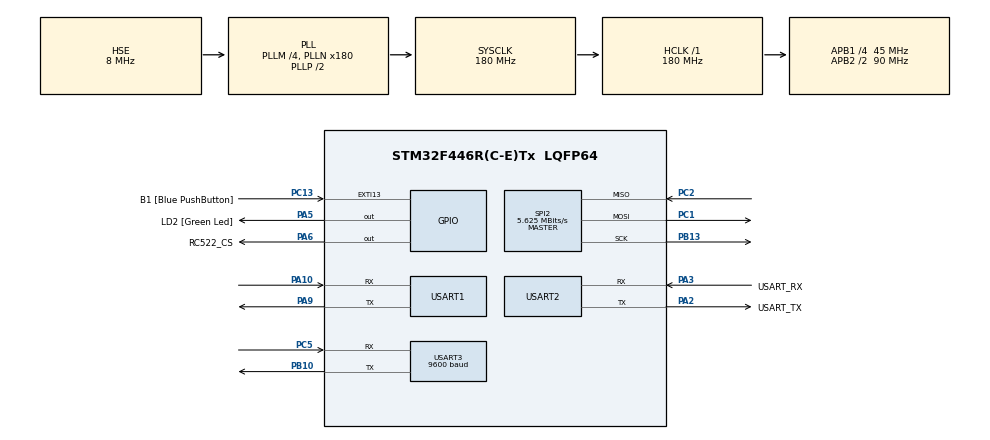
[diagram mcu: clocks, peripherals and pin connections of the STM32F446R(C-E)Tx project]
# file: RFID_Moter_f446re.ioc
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Dma.Request0=USART1_RX
Dma.USART1_RX.0.Direction=DMA_PERIPH_TO_MEMORY
Dma.USART1_RX.0.FIFOMode=DMA_FIFOMODE_DISABLE
Dma.USART1_RX.0.Instance=DMA2_Stream5
Dma.USART1_RX.0.MemDataAlignment=DMA_MDATAALIGN_BYTE
Dma.USART1_RX.0.MemInc=DMA_MINC_ENABLE
Dma.USART1_RX.0.Mode=DMA_CIRCULAR
Dma.USART1_RX.0.PeriphDataAlignment=DMA_PDATAALIGN_BYTE
Dma.USART1_RX.0.PeriphInc=DMA_PINC_DISABLE
Dma.USART1_RX.0.Priority=DMA_PRIORITY_LOW
FREERTOS.Tasks01=defaultTask,0,128,StartDefaultTask,Default,NULL,Dynamic,NULL,NULL;rfidExecuteTask,0,128,StartRfidExecuteTask,Default,NULL,Dynamic,NULL,NULL;tagNumTransmitT,0,128,StartTagNumTransmitTask,Default,NULL,Dynamic,NULL,NULL;rc522_read,0,128,rc522_readTask,Default,NULL,Dynamic,NULL,NULL
FREERTOS.configUSE_NEWLIB_REENTRANT=1
Mcu.Family=STM32F4
Mcu.Name=STM32F446R(C-E)Tx
Mcu.Package=LQFP64
NVIC.DMA2_Stream5_IRQn=true\:5\:0\:false\:false\:true\:false\:false\:true\:true
NVIC.PriorityGroup=NVIC_PRIORITYGROUP_4
NVIC.SPI2_IRQn=true\:5\:0\:false\:false\:true\:true\:true\:true\:true
NVIC.TIM2_IRQn=true\:15\:0\:false\:false\:true\:false\:false\:true\:true
NVIC.TimeBase=TIM2_IRQn
NVIC.TimeBaseIP=TIM2
NVIC.USART1_IRQn=true\:5\:0\:false\:false\:true\:true\:true\:true\:true
NVIC.USART3_IRQn=true\:5\:0\:false\:false\:true\:true\:true\:true\:true
PA10.Mode=Asynchronous
PA10.Signal=USART1_RX
PA13.GPIO_Label=TMS
PA13.Mode=Serial_Wire
PA13.Signal=SYS_JTMS-SWDIO
PA14.GPIO_Label=TCK
PA14.Mode=Serial_Wire
PA14.Signal=SYS_JTCK-SWCLK
PA2.GPIO_Label=USART_TX
PA2.Mode=Asynchronous
PA2.Signal=USART2_TX
PA3.GPIO_Label=USART_RX
PA3.Mode=Asynchronous
PA3.Signal=USART2_RX
PA5.GPIO_Label=LD2 [Green Led]
PA5.Signal=GPIO_Output
PA6.GPIO_Label=RC522_CS
PA6.Signal=GPIO_Output
PA9.Mode=Asynchronous
PA9.Signal=USART1_TX
PB10.Mode=Asynchronous
PB10.Signal=USART3_TX
PB13.Mode=Full_Duplex_Master
PB13.Signal=SPI2_SCK
PB3.GPIO_Label=SWO
PB3.Signal=SYS_JTDO-SWO
PC1.Mode=Full_Duplex_Master
PC1.Signal=SPI2_MOSI
PC13.GPIO_Label=B1 [Blue PushButton]
PC13.GPIO_ModeDefaultEXTI=GPIO_MODE_IT_FALLING
PC13.Signal=GPXTI13
PC14-OSC32_IN.Mode=LSE-External-Oscillator
PC14-OSC32_IN.Signal=RCC_OSC32_IN
PC15-OSC32_OUT.Mode=LSE-External-Oscillator
PC15-OSC32_OUT.Signal=RCC_OSC32_OUT
PC2.Mode=Full_Duplex_Master
PC2.Signal=SPI2_MISO
PC5.Mode=Asynchronous
PC5.Signal=USART3_RX
PH0-OSC_IN.Mode=HSE-External-Oscillator
PH0-OSC_IN.Signal=RCC_OSC_IN
PH1-OSC_OUT.Mode=HSE-External-Oscillator
PH1-OSC_OUT.Signal=RCC_OSC_OUT
ProjectManager.HeapSize=0x200
ProjectManager.StackSize=0x400
ProjectManager.TargetToolchain=STM32CubeIDE
RCC.48MHZClocksFreq_Value=84000000
RCC.AHBFreq_Value=180000000
RCC.APB1CLKDivider=RCC_HCLK_DIV4
RCC.APB1Freq_Value=45000000
RCC.APB1TimFreq_Value=90000000
RCC.APB2CLKDivider=RCC_HCLK_DIV2
RCC.APB2Freq_Value=90000000
RCC.APB2TimFreq_Value=180000000
RCC.CortexFreq_Value=180000000
RCC.FLatency-AdvancedSettings=FLASH_LATENCY_5
RCC.HCLKFreq_Value=180000000
RCC.HSE_VALUE=8000000
RCC.HSI_VALUE=16000000
RCC.PLLM=4
RCC.PLLN=180
RCC.PLLSourceVirtual=RCC_PLLSOURCE_HSE
RCC.SYSCLKFreq_VALUE=180000000
RCC.SYSCLKSource=RCC_SYSCLKSOURCE_PLLCLK
RCC.USBFreq_Value=180000000
RCC.VCOOutputFreq_Value=360000000
SPI2.BaudRatePrescaler=SPI_BAUDRATEPRESCALER_8
SPI2.CalculateBaudRate=5.625 MBits/s
SPI2.Direction=SPI_DIRECTION_2LINES
SPI2.Mode=SPI_MODE_MASTER
SPI2.VirtualType=VM_MASTER
USART1.VirtualMode=VM_ASYNC
USART2.VirtualMode=VM_ASYNC
USART3.BaudRate=9600
USART3.VirtualMode=VM_ASYNC
VP_FREERTOS_VS_CMSIS_V1.Mode=CMSIS_V1
VP_SYS_VS_tim2.Mode=TIM2
board=NUCLEO-F446RE

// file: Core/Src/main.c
/* USER CODE BEGIN Header */
/**
  ******************************************************************************
  * @file           : main.c
  * @brief          : Main program body
  ******************************************************************************
  * @attention
  *
  * Copyright (c) 2024 STMicroelectronics.
  * All rights reserved.
  *
  * This software is licensed under terms that can be found in the LICENSE file
  * in the root directory of this software component.
  * If no LICENSE file comes with this software, it is provided AS-IS.
  *
  ******************************************************************************
  */
/* USER CODE END Header */
#include "main.h"
#include "cmsis_os.h"
#include "dma.h"
#include "spi.h"
#include "usart.h"
#include "gpio.h"

/* USER CODE BEGIN Includes */
#include "rc522.h"
#include "uart_receive_dma.h"
#include "stm32f4xx_hal_spi.h"
/* USER CODE END Includes */

void SystemClock_Config(void);
void MX_FREERTOS_Init(void);

/* USER CODE BEGIN 0 */
extern SPI_HandleTypeDef hspi2;
uint8_t rc522_rx_buf[100];
uint8_t cardstr[17];
/* USER CODE END 0 */

int main(void)
{

  /* MCU Configuration--------------------------------------------------------*/

  /* Reset of all peripherals, Initializes the Flash interface and the Systick. */
  HAL_Init();

  /* Configure the system clock */
  SystemClock_Config();

  /* Initialize all configured peripherals */
  MX_GPIO_Init();
  MX_DMA_Init();
  MX_USART2_UART_Init();
  MX_USART1_UART_Init();
  MX_USART3_UART_Init();
  MX_SPI2_Init();
  /* USER CODE BEGIN 2 */
  uart_init();
  MFRC522_Init();
//  HAL_SPI_Receive_IT(&hspi2,rc522_rx_buf,sizeof(rc522_rx_buf));

  /* USER CODE END 2 */

  /* Call init function for freertos objects (in freertos.c) */
  MX_FREERTOS_Init();

  /* Start scheduler */
  osKernelStart();

  /* We should never get here as control is now taken by the scheduler */
  /* Infinite loop */
  while (1)
  {

  }
}

void SystemClock_Config(void)
{
  RCC_OscInitTypeDef RCC_OscInitStruct = {0};
  RCC_ClkInitTypeDef RCC_ClkInitStruct = {0};

  /** Configure the main internal regulator output voltage
  */
  __HAL_RCC_PWR_CLK_ENABLE();
  __HAL_PWR_VOLTAGESCALING_CONFIG(PWR_REGULATOR_VOLTAGE_SCALE1);

  /** Initializes the RCC Oscillators according to the specified parameters
  * in the RCC_OscInitTypeDef structure.
  */
  RCC_OscInitStruct.OscillatorType = RCC_OSCILLATORTYPE_HSE;
  RCC_OscInitStruct.HSEState = RCC_HSE_ON;
  RCC_OscInitStruct.PLL.PLLState = RCC_PLL_ON;
  RCC_OscInitStruct.PLL.PLLSource = RCC_PLLSOURCE_HSE;
  RCC_OscInitStruct.PLL.PLLM = 4;
  RCC_OscInitStruct.PLL.PLLN = 180;
  RCC_OscInitStruct.PLL.PLLP = RCC_PLLP_DIV2;
  RCC_OscInitStruct.PLL.PLLQ = 2;
  RCC_OscInitStruct.PLL.PLLR = 2;
  if (HAL_RCC_OscConfig(&RCC_OscInitStruct) != HAL_OK)
  {
    Error_Handler();
  }

  /** Activate the Over-Drive mode
  */
  if (HAL_PWREx_EnableOverDrive() != HAL_OK)
  {
    Error_Handler();
  }

  /** Initializes the CPU, AHB and APB buses clocks
  */
  RCC_ClkInitStruct.ClockType = RCC_CLOCKTYPE_HCLK|RCC_CLOCKTYPE_SYSCLK
                              |RCC_CLOCKTYPE_PCLK1|RCC_CLOCKTYPE_PCLK2;
  RCC_ClkInitStruct.SYSCLKSource = RCC_SYSCLKSOURCE_PLLCLK;
  RCC_ClkInitStruct.AHBCLKDivider = RCC_SYSCLK_DIV1;
  RCC_ClkInitStruct.APB1CLKDivider = RCC_HCLK_DIV4;
  RCC_ClkInitStruct.APB2CLKDivider = RCC_HCLK_DIV2;

  if (HAL_RCC_ClockConfig(&RCC_ClkInitStruct, FLASH_LATENCY_5) != HAL_OK)
  {
    Error_Handler();
  }
}

/* USER CODE BEGIN 4 */
//HAL_SPI_RxCpltCallback(SPI_HandleTypeDef *hspi){
//	HAL_UART_Transmit(&huart2, rc522_rx_buf,sizeof(rc522_rx_buf) , 500);
//}

/* USER CODE END 4 */

void HAL_TIM_PeriodElapsedCallback(TIM_HandleTypeDef *htim)
{
  if (htim->Instance == TIM2) {
    HAL_IncTick();
  }
}

void Error_Handler(void)
{
  __disable_irq();
  while (1)
  {
  }
}

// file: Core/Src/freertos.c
/* USER CODE BEGIN Header */
/**
  ******************************************************************************
  * File Name          : freertos.c
  * Description        : Code for freertos applications
  ******************************************************************************
  * @attention
  *
  * Copyright (c) 2024 STMicroelectronics.
  * All rights reserved.
  *
  * This software is licensed under terms that can be found in the LICENSE file
  * in the root directory of this software component.
  * If no LICENSE file comes with this software, it is provided AS-IS.
  *
  ******************************************************************************
  */
/* USER CODE END Header */

#include "FreeRTOS.h"
#include "task.h"
#include "main.h"
#include "cmsis_os.h"

/* USER CODE BEGIN Includes */
#include "uart_receive_dma.h"
#include "usart.h"
#include "rc522.h"
/* USER CODE END Includes */

/* USER CODE BEGIN Variables */
extern UART_HandleTypeDef huart1;
extern UART_HandleTypeDef huart2;
extern queue8_t uart_queue;
#define transmitSignal 0x0001

uint8_t canTxData[8];
uint32_t	TxMailBox;
/* USER CODE END Variables */
osThreadId defaultTaskHandle;
osThreadId rfidExecuteTaskHandle;
osThreadId tagNumTransmitTHandle;
osThreadId rc522_readHandle;

void StartDefaultTask(void const * argument);
void StartRfidExecuteTask(void const * argument);
void StartTagNumTransmitTask(void const * argument);
void rc522_readTask(void const * argument);

void MX_FREERTOS_Init(void); /* (MISRA C 2004 rule 8.1) */

/* GetIdleTaskMemory prototype (linked to static allocation support) */
void vApplicationGetIdleTaskMemory( StaticTask_t **ppxIdleTaskTCBBuffer, StackType_t **ppxIdleTaskStackBuffer, uint32_t *pulIdleTaskStackSize );

/* USER CODE BEGIN GET_IDLE_TASK_MEMORY */
static StaticTask_t xIdleTaskTCBBuffer;
static StackType_t xIdleStack[configMINIMAL_STACK_SIZE];

void vApplicationGetIdleTaskMemory( StaticTask_t **ppxIdleTaskTCBBuffer, StackType_t **ppxIdleTaskStackBuffer, uint32_t *pulIdleTaskStackSize )
{
  *ppxIdleTaskTCBBuffer = &xIdleTaskTCBBuffer;
  *ppxIdleTaskStackBuffer = &xIdleStack[0];
  *pulIdleTaskStackSize = configMINIMAL_STACK_SIZE;
  /* place for user code */
}
/* USER CODE END GET_IDLE_TASK_MEMORY */

void MX_FREERTOS_Init(void) {

  /* Create the thread(s) */
  /* definition and creation of defaultTask */
  osThreadDef(defaultTask, StartDefaultTask, osPriorityNormal, 0, 128);
  defaultTaskHandle = osThreadCreate(osThread(defaultTask), NULL);

  /* definition and creation of rfidExecuteTask */
  osThreadDef(rfidExecuteTask, StartRfidExecuteTask, osPriorityNormal, 0, 128);
  rfidExecuteTaskHandle = osThreadCreate(osThread(rfidExecuteTask), NULL);

  /* definition and creation of tagNumTransmitT */
  osThreadDef(tagNumTransmitT, StartTagNumTransmitTask, osPriorityNormal, 0, 128);
  tagNumTransmitTHandle = osThreadCreate(osThread(tagNumTransmitT), NULL);

  /* definition and creation of rc522_read */
  osThreadDef(rc522_read, rc522_readTask, osPriorityNormal, 0, 128);
  rc522_readHandle = osThreadCreate(osThread(rc522_read), NULL);

}

void StartDefaultTask(void const * argument)
{
  /* USER CODE BEGIN StartDefaultTask */
  /* Infinite loop */
  for(;;)
  {
	read_rfid_number();
    osDelay(1);
  }
  /* USER CODE END StartDefaultTask */
}

void StartRfidExecuteTask(void const * argument)
{
  /* USER CODE BEGIN StartRfidExecuteTask */
	  uint8_t read_tag_single_time[] = {0xBB, 0x00, 0x22, 0x00, 0x00, 0x22, 0x7E};

	  /* Infinite loop */
	  for(;;)
	  {
		HAL_UART_Transmit(&huart1, read_tag_single_time, sizeof(read_tag_single_time), HAL_MAX_DELAY);
		vTaskResume(defaultTaskHandle);
	    osDelay(500);
	  }
  /* USER CODE END StartRfidExecuteTask */
}

void StartTagNumTransmitTask(void const * argument)
{
  /* USER CODE BEGIN StartTagNumTransmitTask */
  /* Infinite loop */
  osEvent event;
  for(;;)
  {
	event = osSignalWait(transmitSignal, 100);
	if(event.value.signals == transmitSignal){
		transmitData();
		}
  osDelay(1);
  }

  /* USER CODE END StartTagNumTransmitTask */
}

void rc522_readTask(void const * argument)
{
  /* USER CODE BEGIN rc522_readTask */
  uint8_t status,cardstr[16] = {0,};

  /* Infinite loop */
  for(;;)
  {

	if(MFRC522_Request(PICC_REQIDL, cardstr) == MI_OK){
		status = MFRC522_Anticoll(cardstr);
		if(status == MI_OK){
			HAL_UART_Transmit(&huart2, cardstr, 5, 500);
		}
	}
	osDelay(300);
  }
  /* USER CODE END rc522_readTask */
}
